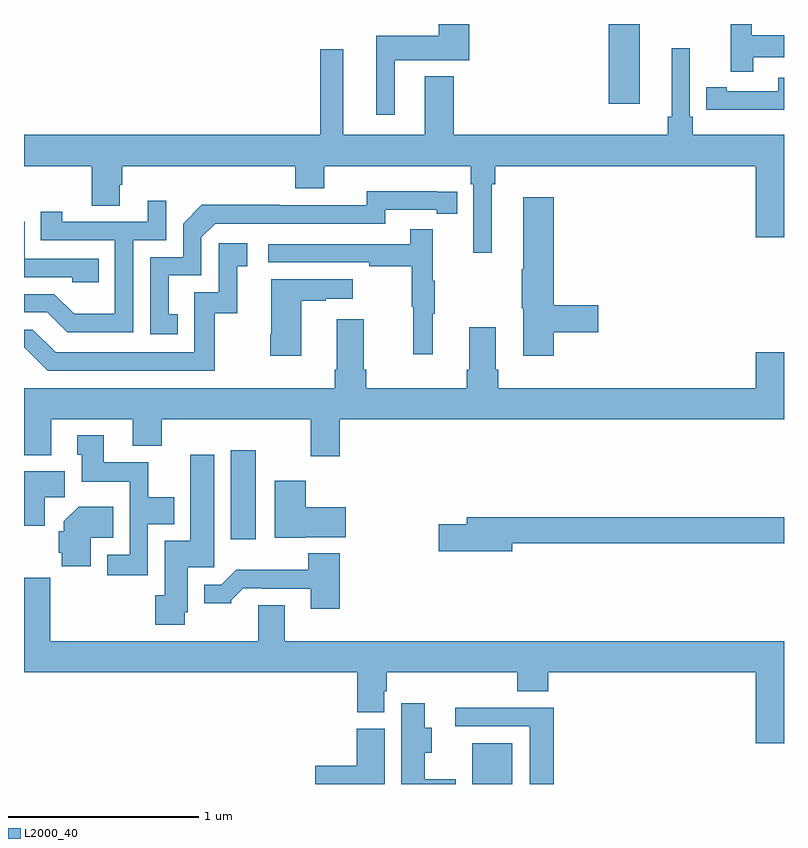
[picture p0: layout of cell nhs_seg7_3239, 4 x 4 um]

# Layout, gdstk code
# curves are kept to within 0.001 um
import gdstk
lib = gdstk.Library(unit=1e-6, precision=1e-09)
def R(c, l, rs):  # rectangles x0, y0, x1, y1
    for r in rs: c.add(gdstk.rectangle(r[:2], r[2:], *l))
def P(c, l, *ps):  # polygons
    for p in ps: c.add(gdstk.Polygon(p, *l))
L2000_40 = (2000, 40)

nhs_seg7_3239 = lib.new_cell('nhs_seg7_3239')
R(nhs_seg7_3239, L2000_40, [(319.358,1028,319.57,1028.215), (318.089,1029.288,318.22,1029.757), (320.078,1031.58,320.242,1032)])
P(nhs_seg7_3239, L2000_40, [(320.837,1031.826),(321,1031.826),(321,1031.942),(320.83,1031.942),(320.83,1032),(320.72,1032),(320.72,1031.748),(320.837,1031.748)],
  [(318.952,1031.81),(319.343,1031.81),(319.343,1032),(319.184,1032),(319.184,1031.938),(318.854,1031.938),(318.854,1031.523),(318.952,1031.523)],
  [(319.462,1031.156),(319.481,1031.156),(319.481,1031.252),(320.852,1031.252),(320.852,1030.878),(321,1030.878),(321,1031.416),(320.519,1031.416),(320.519,1031.512),(320.505,1031.512),(320.505,1031.872),(320.408,1031.872),(320.408,1031.512),(320.389,1031.512),(320.389,1031.416),(319.262,1031.416),(319.262,1031.725),(319.109,1031.725),(319.109,1031.416),(318.679,1031.416),(318.679,1031.866),(318.558,1031.866),(318.558,1031.416),(317,1031.416),(317,1031.252),(317.356,1031.252),(317.356,1031.044),(317.503,1031.044),(317.503,1031.154),(317.516,1031.154),(317.516,1031.252),(318.428,1031.252),(318.428,1031.135),(318.58,1031.135),(318.58,1031.252),(319.352,1031.252),(319.352,1031.156),(319.365,1031.156),(319.365,1030.797),(319.462,1030.797)],
  [(321,1031.718),(320.97,1031.718),(320.97,1031.646),(320.698,1031.646),(320.698,1031.666),(320.59,1031.666),(320.59,1031.55),(320.698,1031.55),(320.698,1031.549),(321,1031.549)],
  [(317.81,1030.473),(317.761,1030.473),(317.761,1030.677),(317.934,1030.677),(317.934,1030.878),(318.006,1030.95),(318.9,1030.95),(318.9,1031.022),(319.172,1031.022),(319.172,1031.002),(319.28,1031.002),(319.28,1031.118),(318.804,1031.119),(318.804,1031.046),(318.344,1031.046),(318.344,1031.048),(317.936,1031.048),(317.838,1030.95),(317.838,1030.773),(317.664,1030.773),(317.664,1030.368),(317.81,1030.368)],
  [(319.787,1030.378),(320.023,1030.378),(320.023,1030.52),(319.787,1030.52),(319.787,1031.089),(319.628,1031.089),(319.628,1030.709),(319.621,1030.709),(319.621,1030.503),(319.628,1030.503),(319.628,1030.254),(319.787,1030.254)],
  [(317.574,1030.863),(317.748,1030.863),(317.748,1031.071),(317.651,1031.071),(317.651,1030.959),(317.2,1030.959),(317.2,1031.011),(317.089,1031.011),(317.089,1030.863),(317.478,1030.863),(317.478,1030.474),(317.264,1030.474),(317.16,1030.578),(317,1030.578),(317,1030.482),(317.123,1030.482),(317.228,1030.377),(317.574,1030.377)],
  [(317.393,1030.764),(317.004,1030.764),(317.004,1030.959),(317,1030.959),(317,1030.668),(317.253,1030.668),(317.253,1030.641),(317.393,1030.641)],
  [(319.151,1030.475),(319.162,1030.475),(319.162,1030.649),(319.151,1030.649),(319.151,1030.921),(319.033,1030.921),(319.033,1030.842),(318.285,1030.842),(318.285,1030.746),(318.817,1030.746),(318.817,1030.726),(319.041,1030.726),(319.041,1030.512),(319.048,1030.512),(319.048,1030.263),(319.151,1030.263)],
  [(318.004,1030.478),(318.122,1030.478),(318.122,1030.725),(318.175,1030.725),(318.175,1030.846),(318.024,1030.846),(318.024,1030.587),(317.895,1030.587),(317.895,1030.272),(317.166,1030.272),(317.046,1030.392),(317,1030.392),(317,1030.296),(317.004,1030.296),(317.124,1030.176),(318.004,1030.176)],
  [(318.46,1030.543),(318.587,1030.543),(318.587,1030.553),(318.73,1030.553),(318.73,1030.657),(318.302,1030.657),(318.302,1030.366),(318.295,1030.366),(318.295,1030.254),(318.46,1030.254)],
  [(318.662,1029.92),(321,1029.92),(321,1030.273),(320.852,1030.273),(320.852,1030.084),(319.496,1030.084),(319.496,1030.18),(319.483,1030.18),(319.483,1030.405),(319.343,1030.405),(319.343,1030.18),(319.331,1030.18),(319.331,1030.084),(318.8,1030.084),(318.8,1030.18),(318.787,1030.18),(318.787,1030.447),(318.647,1030.447),(318.647,1030.18),(318.635,1030.18),(318.635,1030.084),(317,1030.084),(317,1029.731),(317.143,1029.731),(317.143,1029.92),(317.573,1029.92),(317.573,1029.779),(317.726,1029.779),(317.726,1029.92),(318.509,1029.92),(318.509,1029.726),(318.662,1029.726)],
  [(317.652,1029.368),(317.791,1029.368),(317.791,1029.508),(317.655,1029.508),(317.655,1029.694),(317.419,1029.694),(317.419,1029.835),(317.279,1029.835),(317.279,1029.732),(317.303,1029.732),(317.303,1029.59),(317.556,1029.59),(317.556,1029.207),(317.439,1029.207),(317.439,1029.099),(317.652,1029.099)],
  [(317.847,1028.904),(317.863,1028.904),(317.863,1029.141),(318.001,1029.141),(318.001,1029.733),(317.876,1029.733),(317.876,1029.28),(317.741,1029.28),(317.741,1028.994),(317.69,1028.994),(317.69,1028.838),(317.847,1028.838)],
  [(317.108,1029.508),(317.215,1029.508),(317.215,1029.646),(317,1029.646),(317,1029.36),(317.108,1029.36)],
  [(318.48,1029.299),(318.694,1029.299),(318.694,1029.457),(318.484,1029.457),(318.484,1029.595),(318.32,1029.595),(318.32,1029.296),(318.48,1029.296)],
  [(317.35,1029.296),(317.471,1029.296),(317.471,1029.46),(317.288,1029.46),(317.21,1029.382),(317.21,1029.33),(317.183,1029.33),(317.183,1029.216),(317.198,1029.216),(317.198,1029.146),(317.35,1029.146)],
  [(319.57,1029.268),(321,1029.268),(321,1029.404),(319.331,1029.404),(319.331,1029.368),(319.182,1029.368),(319.182,1029.226),(319.57,1029.226)],
  [(318.662,1029.214),(318.497,1029.214),(318.497,1029.127),(318.118,1029.127),(318.039,1029.048),(317.948,1029.048),(317.948,1028.951),(318.09,1028.951),(318.09,1028.966),(318.154,1029.03),(318.253,1029.03),(318.253,1029.027),(318.509,1029.027),(318.509,1028.922),(318.662,1028.922)],
  [(321,1028.752),(318.373,1028.752),(318.373,1028.942),(318.233,1028.942),(318.233,1028.752),(317.138,1028.752),(317.138,1029.085),(317.002,1029.085),(317.002,1028.752),(317,1028.752),(317,1028.588),(318.755,1028.588),(318.755,1028.377),(318.895,1028.377),(318.895,1028.487),(318.908,1028.487),(318.908,1028.588),(319.595,1028.588),(319.595,1028.489),(319.76,1028.489),(319.76,1028.588),(320.852,1028.588),(320.852,1028.214),(321,1028.214)],
  [(319.273,1028.026),(319.108,1028.026),(319.108,1028.165),(319.147,1028.165),(319.147,1028.295),(319.108,1028.295),(319.108,1028.425),(318.986,1028.425),(318.986,1028),(319.273,1028)],
  [(319.787,1028.402),(319.269,1028.402),(319.269,1028.304),(319.661,1028.304),(319.661,1028),(319.787,1028)],
  [(318.898,1028.292),(318.752,1028.292),(318.752,1028.096),(318.534,1028.096),(318.534,1028),(318.898,1028)])

lib.write_gds('nhs_seg7_3239.gds')
